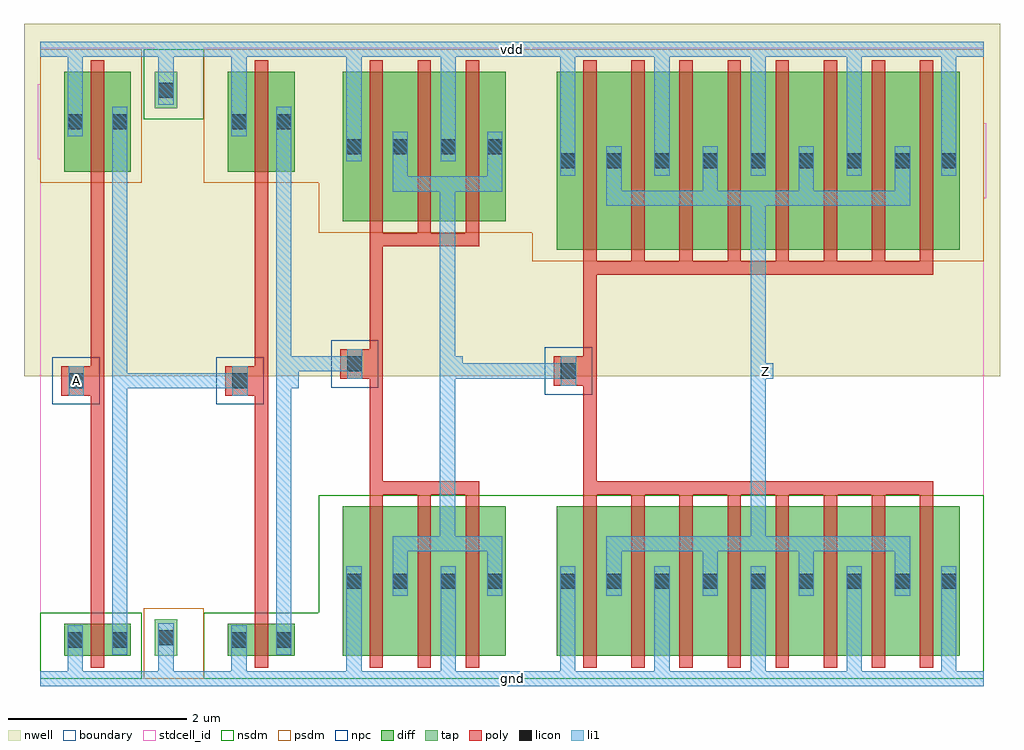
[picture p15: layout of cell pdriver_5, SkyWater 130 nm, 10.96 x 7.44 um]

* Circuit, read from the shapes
.subckt pdriver_5 A Z gnd vdd
XM1 pinv_7_1/A A gnd gnd sky130_fd_pr__nfet_01v8 w=0.36 l=0.15
XM2 pinv_11_2/A pinv_7_1/A gnd gnd sky130_fd_pr__nfet_01v8 w=0.36 l=0.15
XM3 pinv_12_3/A pinv_11_2/A gnd gnd sky130_fd_pr__nfet_01v8 w=1.68 l=0.15 m=3
XM4 Z pinv_12_3/A gnd gnd sky130_fd_pr__nfet_01v8 w=1.68 l=0.15 m=8
XM5 pinv_7_1/A A vdd vdd sky130_fd_pr__pfet_01v8 w=1.12 l=0.15
XM6 pinv_11_2/A pinv_7_1/A vdd vdd sky130_fd_pr__pfet_01v8 w=1.12 l=0.15
XM7 pinv_12_3/A pinv_11_2/A vdd vdd sky130_fd_pr__pfet_01v8 w=1.68 l=0.15 m=3
XM8 Z pinv_12_3/A vdd vdd sky130_fd_pr__pfet_01v8 w=2 l=0.15 m=8
.ends

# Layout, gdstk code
import gdstk
lib = gdstk.Library(unit=1e-6, precision=1e-09)
def R(c, l, rs):  # rectangles x0, y0, x1, y1
    for r in rs: c.add(gdstk.rectangle(r[:2], r[2:], *l))
def A(c, l, x, y, w, h, nx, ny, dx, dy):  # array of equal rectangles
    R(c, l, [(x+i*dx, y+j*dy, x+i*dx+w, y+j*dy+h) for i in range(nx) for j in range(ny)])
nwell = (64, 20)
diff = (65, 20)
tap = (65, 44)
poly = (66, 20)
licon = (66, 44)
li1 = (67, 20)
stdcell_id = (81, 4)
nsdm = (93, 44)
psdm = (94, 20)
npc = (95, 20)
boundary = (235, 4)

contact_11 = lib.new_cell('contact_11')
R(contact_11, nwell, [(-0.295,-0.255,0.545,0.585)])
R(contact_11, diff, [(0,0.02,0.25,0.31)])
R(contact_11, licon, [(0.04,0.08,0.21,0.25)])
R(contact_11, li1, [(0.04,0,0.21,0.33)])
R(contact_11, stdcell_id, [(-0.295,-0.255,0.545,0.585)])
R(contact_11, psdm, [(-0.125,-0.105,0.375,0.435)])
R(contact_11, boundary, [(-0.295,-0.255,0.545,0.585)])

pmos_m1_w1_120_sli_dli_d = lib.new_cell('pmos_m1_w1_120_sli_dli_da_p')
R(pmos_m1_w1_120_sli_dli_d, nwell, [(-0.27,-0.27,1.02,1.39)])
R(pmos_m1_w1_120_sli_dli_d, diff, [(0,0,0.75,1.12)])
R(pmos_m1_w1_120_sli_dli_d, poly, [(0.3,-0.13,0.45,1.25), (0.3,-0.13,0.45,1.25)])
R(pmos_m1_w1_120_sli_dli_d, li1, [(0.04,0.395,0.21,0.725), (0.54,0.395,0.71,0.725)])
R(pmos_m1_w1_120_sli_dli_d, stdcell_id, [(-0.27,-0.27,1.02,1.39)])
R(pmos_m1_w1_120_sli_dli_d, psdm, [(-0.125,-0.125,0.875,1.245)])
R(pmos_m1_w1_120_sli_dli_d, boundary, [(-0.27,-0.27,1.02,1.39)])
pmos_m1_w1_120_sli_dli_d.add(gdstk.Reference(contact_11, (0,0.395)))
pmos_m1_w1_120_sli_dli_d.add(gdstk.Reference(contact_11, (0.5,0.395)))
pmos_m1_w1_120_sli_dli_d.add(gdstk.Label('D', (0.625,0.56), layer=67, texttype=16))
pmos_m1_w1_120_sli_dli_d.add(gdstk.Label('S', (0.125,0.56), layer=67, texttype=16))
pmos_m1_w1_120_sli_dli_d.add(gdstk.Label('G', (0.375,0.56), layer=66, texttype=16))

contact_17 = lib.new_cell('contact_17')
R(contact_17, diff, [(0,0.02,0.25,0.31)])
R(contact_17, licon, [(0.04,0.08,0.21,0.25)])
R(contact_17, li1, [(0.04,0,0.21,0.33)])
R(contact_17, stdcell_id, [(-0.125,-0.105,0.375,0.435)])
R(contact_17, nsdm, [(-0.125,-0.105,0.375,0.435)])
R(contact_17, boundary, [(-0.125,-0.105,0.375,0.435)])

nmos_m1_w0_360_sli_dli_d = lib.new_cell('nmos_m1_w0_360_sli_dli_da_p')
R(nmos_m1_w0_360_sli_dli_d, diff, [(0,0,0.75,0.36)])
R(nmos_m1_w0_360_sli_dli_d, poly, [(0.3,-0.13,0.45,0.49), (0.3,-0.13,0.45,0.49)])
R(nmos_m1_w0_360_sli_dli_d, li1, [(0.04,0.015,0.21,0.345), (0.54,0.015,0.71,0.345)])
R(nmos_m1_w0_360_sli_dli_d, stdcell_id, [(-0.125,-0.13,0.875,0.49)])
R(nmos_m1_w0_360_sli_dli_d, nsdm, [(-0.125,-0.125,0.875,0.485)])
R(nmos_m1_w0_360_sli_dli_d, boundary, [(-0.125,-0.13,0.875,0.49)])
nmos_m1_w0_360_sli_dli_d.add(gdstk.Reference(contact_17, (0,0.015)))
nmos_m1_w0_360_sli_dli_d.add(gdstk.Reference(contact_17, (0.5,0.015)))
nmos_m1_w0_360_sli_dli_d.add(gdstk.Label('D', (0.625,0.18), layer=67, texttype=16))
nmos_m1_w0_360_sli_dli_d.add(gdstk.Label('S', (0.125,0.18), layer=67, texttype=16))
nmos_m1_w0_360_sli_dli_d.add(gdstk.Label('G', (0.375,0.18), layer=66, texttype=16))

contact_24 = lib.new_cell('contact_24')
R(contact_24, nwell, [(-0.295,-0.215,0.545,0.625)])
R(contact_24, tap, [(0,0,0.25,0.41)])
R(contact_24, licon, [(0.04,0.12,0.21,0.29)])
R(contact_24, li1, [(0.04,0.04,0.21,0.37)])
R(contact_24, stdcell_id, [(-0.295,-0.215,0.545,0.625)])
R(contact_24, nsdm, [(-0.125,-0.125,0.375,0.535)])
R(contact_24, boundary, [(-0.295,-0.215,0.545,0.625)])

contact_25 = lib.new_cell('contact_25')
R(contact_25, tap, [(0,0,0.25,0.41)])
R(contact_25, licon, [(0.04,0.12,0.21,0.29)])
R(contact_25, li1, [(0.04,0.04,0.21,0.37)])
R(contact_25, stdcell_id, [(-0.125,-0.125,0.375,0.535)])
R(contact_25, psdm, [(-0.125,-0.125,0.375,0.535)])
R(contact_25, boundary, [(-0.125,-0.125,0.375,0.535)])

contact_12 = lib.new_cell('contact_12')
R(contact_12, poly, [(0,0,0.33,0.33)])
R(contact_12, licon, [(0.08,0.08,0.25,0.25)])
R(contact_12, li1, [(0.08,0,0.25,0.33)])
R(contact_12, stdcell_id, [(-0.1,-0.1,0.43,0.43)])
R(contact_12, npc, [(-0.1,-0.1,0.43,0.43)])
R(contact_12, boundary, [(-0.1,-0.1,0.43,0.43)])

pinv_4 = lib.new_cell('pinv_4')
R(pinv_4, nwell, [(-0.18,3.395,2.02,7.355)])
R(pinv_4, poly, [(0.57,0.745,0.72,5.565), (0.405,3.18,0.57,3.51)])
R(pinv_4, li1, [(0,-0.085,1.84,0.085), (0.31,-0.085,0.48,0.27), (1.33,0,1.5,0.46), (0.81,0.27,0.98,6.42), (0.32,3.18,0.49,3.51), (0.895,3.26,1.065,3.43), (0.31,6.09,0.48,7.155), (1.33,6.61,1.5,7.07), (0,6.985,1.84,7.155)])
R(pinv_4, stdcell_id, [(0,0,1.84,7.07), (0,0,1.84,7.07)])
R(pinv_4, nsdm, [(0,0,1.145,0.74), (1.165,6.28,1.84,7.07)])
R(pinv_4, psdm, [(1.165,0,1.84,0.79), (0,5.57,1.145,7.07)])
R(pinv_4, boundary, [(0,0,1.84,7.07), (0,0,1.84,7.07)])
pinv_4.add(gdstk.Reference(pmos_m1_w1_120_sli_dli_d, (0.27,5.695)))
pinv_4.add(gdstk.Reference(nmos_m1_w0_360_sli_dli_d, (0.27,0.255)))
pinv_4.add(gdstk.Reference(contact_24, (1.29,6.405)))
pinv_4.add(gdstk.Reference(contact_25, (1.29,0.255)))
pinv_4.add(gdstk.Reference(contact_12, (0.24,3.18)))
pinv_4.add(gdstk.Label('vdd', (0.92,7.07), layer=67, texttype=16))
pinv_4.add(gdstk.Label('gnd', (0.92,0), layer=67, texttype=16))
pinv_4.add(gdstk.Label('Z', (0.98,3.345), layer=67, texttype=16))
pinv_4.add(gdstk.Label('A', (0.405,3.345), layer=67, texttype=16))

pinv_7 = lib.new_cell('pinv_7')
R(pinv_7, nwell, [(-0.18,3.395,1.47,7.355)])
R(pinv_7, poly, [(0.57,0.745,0.72,5.565), (0.405,3.18,0.57,3.51)])
R(pinv_7, li1, [(0,-0.085,1.29,0.085), (0.31,-0.085,0.48,0.27), (0.81,0.27,0.98,6.42), (0.32,3.18,0.49,3.51), (0.895,3.26,1.065,3.43), (0.31,6.09,0.48,7.155), (0,6.985,1.29,7.155)])
R(pinv_7, stdcell_id, [(0,0,1.29,7.07), (0,0,1.29,7.07)])
R(pinv_7, nsdm, [(0,0,1.29,0.74)])
R(pinv_7, psdm, [(0,5.57,1.29,7.07)])
R(pinv_7, boundary, [(0,0,1.29,7.07), (0,0,1.29,7.07)])
pinv_7.add(gdstk.Reference(pmos_m1_w1_120_sli_dli_d, (0.27,5.695)))
pinv_7.add(gdstk.Reference(nmos_m1_w0_360_sli_dli_d, (0.27,0.255)))
pinv_7.add(gdstk.Reference(contact_12, (0.24,3.18)))
pinv_7.add(gdstk.Label('vdd', (0.645,7.07), layer=67, texttype=16))
pinv_7.add(gdstk.Label('gnd', (0.645,0), layer=67, texttype=16))
pinv_7.add(gdstk.Label('Z', (0.98,3.345), layer=67, texttype=16))
pinv_7.add(gdstk.Label('A', (0.405,3.345), layer=67, texttype=16))

pmos_m3_w1_680_sli_dli_d = lib.new_cell('pmos_m3_w1_680_sli_dli_da_p')
R(pmos_m3_w1_680_sli_dli_d, nwell, [(-0.27,-0.27,2.1,1.95)])
R(pmos_m3_w1_680_sli_dli_d, diff, [(0,0,1.83,1.68)])
A(pmos_m3_w1_680_sli_dli_d, poly, 0.3, -0.13, 0.15, 1.94, 3, 1, 0.54, 0)
R(pmos_m3_w1_680_sli_dli_d, poly, [(0.3,-0.28,1.53,-0.13)])
R(pmos_m3_w1_680_sli_dli_d, li1, [(0.56,0.335,1.79,0.505), (0.56,0.42,0.73,0.84), (1.62,0.42,1.79,0.84), (0.04,0.675,0.21,1.005), (1.1,0.675,1.27,1.005)])
R(pmos_m3_w1_680_sli_dli_d, stdcell_id, [(-0.27,-0.27,2.1,1.95)])
R(pmos_m3_w1_680_sli_dli_d, psdm, [(-0.125,-0.125,1.955,1.805)])
R(pmos_m3_w1_680_sli_dli_d, boundary, [(-0.27,-0.27,2.1,1.95)])
pmos_m3_w1_680_sli_dli_d.add(gdstk.Reference(contact_11, (0,0.675)))
pmos_m3_w1_680_sli_dli_d.add(gdstk.Reference(contact_11, (0.52,0.675)))
pmos_m3_w1_680_sli_dli_d.add(gdstk.Reference(contact_11, (1.06,0.675)))
pmos_m3_w1_680_sli_dli_d.add(gdstk.Reference(contact_11, (1.58,0.675)))
pmos_m3_w1_680_sli_dli_d.add(gdstk.Label('D', (1.175,0.42), layer=67, texttype=16))
pmos_m3_w1_680_sli_dli_d.add(gdstk.Label('S', (1.185,0.84), layer=67, texttype=16))
pmos_m3_w1_680_sli_dli_d.add(gdstk.Label('S', (0.125,0.84), layer=67, texttype=16))
pmos_m3_w1_680_sli_dli_d.add(gdstk.Label('G', (0.915,-0.205), layer=66, texttype=16))

nmos_m3_w1_680_sli_dli_d = lib.new_cell('nmos_m3_w1_680_sli_dli_da_p')
R(nmos_m3_w1_680_sli_dli_d, diff, [(0,0,1.83,1.68)])
A(nmos_m3_w1_680_sli_dli_d, poly, 0.3, -0.13, 0.15, 1.94, 3, 1, 0.54, 0)
R(nmos_m3_w1_680_sli_dli_d, poly, [(0.3,1.81,1.53,1.96)])
R(nmos_m3_w1_680_sli_dli_d, li1, [(0.04,0.675,0.21,1.005), (1.1,0.675,1.27,1.005), (0.56,0.84,0.73,1.26), (1.62,0.84,1.79,1.26), (0.56,1.175,1.79,1.345)])
R(nmos_m3_w1_680_sli_dli_d, stdcell_id, [(-0.125,-0.13,1.955,1.81)])
R(nmos_m3_w1_680_sli_dli_d, nsdm, [(-0.125,-0.125,1.955,1.805)])
R(nmos_m3_w1_680_sli_dli_d, boundary, [(-0.125,-0.13,1.955,1.81)])
nmos_m3_w1_680_sli_dli_d.add(gdstk.Reference(contact_17, (0,0.675)))
nmos_m3_w1_680_sli_dli_d.add(gdstk.Reference(contact_17, (0.52,0.675)))
nmos_m3_w1_680_sli_dli_d.add(gdstk.Reference(contact_17, (1.06,0.675)))
nmos_m3_w1_680_sli_dli_d.add(gdstk.Reference(contact_17, (1.58,0.675)))
nmos_m3_w1_680_sli_dli_d.add(gdstk.Label('D', (1.175,1.26), layer=67, texttype=16))
nmos_m3_w1_680_sli_dli_d.add(gdstk.Label('S', (1.185,0.84), layer=67, texttype=16))
nmos_m3_w1_680_sli_dli_d.add(gdstk.Label('S', (0.125,0.84), layer=67, texttype=16))
nmos_m3_w1_680_sli_dli_d.add(gdstk.Label('G', (0.915,1.885), layer=66, texttype=16))

pinv_11 = lib.new_cell('pinv_11')
R(pinv_11, nwell, [(-0.18,3.395,2.58,7.355)])
R(pinv_11, poly, [(0.57,2.215,0.72,4.855), (0.405,3.37,0.57,3.7)])
R(pinv_11, li1, [(0,-0.085,2.4,0.085), (0.31,-0.085,0.48,0.93), (1.37,-0.085,1.54,0.93), (1.36,1.43,1.53,5.64), (0.32,3.37,0.49,3.7), (1.445,3.45,1.615,3.62), (0.31,5.81,0.48,7.155), (1.37,5.81,1.54,7.155), (0,6.985,2.4,7.155)])
R(pinv_11, stdcell_id, [(0,0,2.4,7.07), (0,0,2.4,7.07)])
R(pinv_11, nsdm, [(0,0,2.4,2.06)])
R(pinv_11, psdm, [(0,5.01,2.4,7.07)])
R(pinv_11, boundary, [(0,0,2.4,7.07), (0,0,2.4,7.07)])
pinv_11.add(gdstk.Reference(pmos_m3_w1_680_sli_dli_d, (0.27,5.135)))
pinv_11.add(gdstk.Reference(nmos_m3_w1_680_sli_dli_d, (0.27,0.255)))
pinv_11.add(gdstk.Reference(contact_12, (0.24,3.37)))
pinv_11.add(gdstk.Label('vdd', (1.2,7.07), layer=67, texttype=16))
pinv_11.add(gdstk.Label('gnd', (1.2,0), layer=67, texttype=16))
pinv_11.add(gdstk.Label('Z', (1.53,3.535), layer=67, texttype=16))
pinv_11.add(gdstk.Label('A', (0.405,3.535), layer=67, texttype=16))

pmos_m8_w2_000_sli_dli_d = lib.new_cell('pmos_m8_w2_000_sli_dli_da_p')
R(pmos_m8_w2_000_sli_dli_d, nwell, [(-0.27,-0.27,4.8,2.27)])
R(pmos_m8_w2_000_sli_dli_d, diff, [(0,0,4.53,2)])
A(pmos_m8_w2_000_sli_dli_d, poly, 0.3, -0.13, 0.15, 2.26, 8, 1, 0.54, 0)
R(pmos_m8_w2_000_sli_dli_d, poly, [(0.3,-0.28,4.23,-0.13)])
A(pmos_m8_w2_000_sli_dli_d, li1, 0.56, 0.58, 0.17, 0.42, 4, 1, 1.08, 0)
A(pmos_m8_w2_000_sli_dli_d, li1, 1.1, 0.835, 0.17, 0.33, 3, 1, 1.08, 0)
R(pmos_m8_w2_000_sli_dli_d, li1, [(0.56,0.495,3.97,0.665), (0.04,0.835,0.21,1.165), (4.32,0.835,4.49,1.165)])
R(pmos_m8_w2_000_sli_dli_d, stdcell_id, [(-0.27,-0.27,4.8,2.27)])
R(pmos_m8_w2_000_sli_dli_d, psdm, [(-0.125,-0.125,4.655,2.125)])
R(pmos_m8_w2_000_sli_dli_d, boundary, [(-0.27,-0.27,4.8,2.27)])
pmos_m8_w2_000_sli_dli_d.add(gdstk.Reference(contact_11, (0,0.835)))
pmos_m8_w2_000_sli_dli_d.add(gdstk.Reference(contact_11, (0.52,0.835)))
pmos_m8_w2_000_sli_dli_d.add(gdstk.Reference(contact_11, (1.06,0.835)))
pmos_m8_w2_000_sli_dli_d.add(gdstk.Reference(contact_11, (1.6,0.835)))
pmos_m8_w2_000_sli_dli_d.add(gdstk.Reference(contact_11, (2.14,0.835)))
pmos_m8_w2_000_sli_dli_d.add(gdstk.Reference(contact_11, (2.68,0.835)))
pmos_m8_w2_000_sli_dli_d.add(gdstk.Reference(contact_11, (3.22,0.835)))
pmos_m8_w2_000_sli_dli_d.add(gdstk.Reference(contact_11, (3.76,0.835)))
pmos_m8_w2_000_sli_dli_d.add(gdstk.Reference(contact_11, (4.28,0.835)))
pmos_m8_w2_000_sli_dli_d.add(gdstk.Label('D', (2.265,0.58), layer=67, texttype=16))
pmos_m8_w2_000_sli_dli_d.add(gdstk.Label('S', (3.345,1), layer=67, texttype=16))
pmos_m8_w2_000_sli_dli_d.add(gdstk.Label('S', (4.405,1), layer=67, texttype=16))
pmos_m8_w2_000_sli_dli_d.add(gdstk.Label('S', (1.185,1), layer=67, texttype=16))
pmos_m8_w2_000_sli_dli_d.add(gdstk.Label('S', (0.125,1), layer=67, texttype=16))
pmos_m8_w2_000_sli_dli_d.add(gdstk.Label('S', (2.265,1), layer=67, texttype=16))
pmos_m8_w2_000_sli_dli_d.add(gdstk.Label('G', (2.265,-0.205), layer=66, texttype=16))

nmos_m8_w1_680_sli_dli_d = lib.new_cell('nmos_m8_w1_680_sli_dli_da_p')
R(nmos_m8_w1_680_sli_dli_d, diff, [(0,0,4.53,1.68)])
A(nmos_m8_w1_680_sli_dli_d, poly, 0.3, -0.13, 0.15, 1.94, 8, 1, 0.54, 0)
R(nmos_m8_w1_680_sli_dli_d, poly, [(0.3,1.81,4.23,1.96)])
A(nmos_m8_w1_680_sli_dli_d, li1, 1.1, 0.675, 0.17, 0.33, 3, 1, 1.08, 0)
A(nmos_m8_w1_680_sli_dli_d, li1, 0.56, 0.84, 0.17, 0.42, 4, 1, 1.08, 0)
R(nmos_m8_w1_680_sli_dli_d, li1, [(0.04,0.675,0.21,1.005), (4.32,0.675,4.49,1.005), (0.56,1.175,3.97,1.345)])
R(nmos_m8_w1_680_sli_dli_d, stdcell_id, [(-0.125,-0.13,4.655,1.81)])
R(nmos_m8_w1_680_sli_dli_d, nsdm, [(-0.125,-0.125,4.655,1.805)])
R(nmos_m8_w1_680_sli_dli_d, boundary, [(-0.125,-0.13,4.655,1.81)])
nmos_m8_w1_680_sli_dli_d.add(gdstk.Reference(contact_17, (0,0.675)))
nmos_m8_w1_680_sli_dli_d.add(gdstk.Reference(contact_17, (0.52,0.675)))
nmos_m8_w1_680_sli_dli_d.add(gdstk.Reference(contact_17, (1.06,0.675)))
nmos_m8_w1_680_sli_dli_d.add(gdstk.Reference(contact_17, (1.6,0.675)))
nmos_m8_w1_680_sli_dli_d.add(gdstk.Reference(contact_17, (2.14,0.675)))
nmos_m8_w1_680_sli_dli_d.add(gdstk.Reference(contact_17, (2.68,0.675)))
nmos_m8_w1_680_sli_dli_d.add(gdstk.Reference(contact_17, (3.22,0.675)))
nmos_m8_w1_680_sli_dli_d.add(gdstk.Reference(contact_17, (3.76,0.675)))
nmos_m8_w1_680_sli_dli_d.add(gdstk.Reference(contact_17, (4.28,0.675)))
nmos_m8_w1_680_sli_dli_d.add(gdstk.Label('D', (2.265,1.26), layer=67, texttype=16))
nmos_m8_w1_680_sli_dli_d.add(gdstk.Label('S', (4.405,0.84), layer=67, texttype=16))
nmos_m8_w1_680_sli_dli_d.add(gdstk.Label('S', (1.185,0.84), layer=67, texttype=16))
nmos_m8_w1_680_sli_dli_d.add(gdstk.Label('S', (3.345,0.84), layer=67, texttype=16))
nmos_m8_w1_680_sli_dli_d.add(gdstk.Label('S', (0.125,0.84), layer=67, texttype=16))
nmos_m8_w1_680_sli_dli_d.add(gdstk.Label('S', (2.265,0.84), layer=67, texttype=16))
nmos_m8_w1_680_sli_dli_d.add(gdstk.Label('G', (2.265,1.885), layer=66, texttype=16))

pinv_12 = lib.new_cell('pinv_12')
R(pinv_12, nwell, [(-0.18,3.395,5.25,7.355)])
R(pinv_12, poly, [(0.57,2.215,0.72,4.535), (0.405,3.29,0.57,3.62)])
A(pinv_12, li1, 1.37, -0.085, 0.17, 1.015, 3, 1, 1.08, 0)
A(pinv_12, li1, 1.37, 5.65, 0.17, 1.505, 3, 1, 1.08, 0)
R(pinv_12, li1, [(0,-0.085,5.07,0.085), (0.31,-0.085,0.48,0.93), (4.59,-0.085,4.76,0.93), (2.45,1.43,2.62,5.48), (0.32,3.29,0.49,3.62), (2.535,3.37,2.705,3.54), (0.31,5.65,0.48,7.155), (4.59,5.65,4.76,7.155), (0,6.985,5.07,7.155)])
R(pinv_12, stdcell_id, [(0,0,5.07,7.07), (0,0,5.07,7.07)])
R(pinv_12, nsdm, [(0,0,5.07,2.06)])
R(pinv_12, psdm, [(0,4.69,5.07,7.07)])
R(pinv_12, boundary, [(0,0,5.07,7.07), (0,0,5.07,7.07)])
pinv_12.add(gdstk.Reference(pmos_m8_w2_000_sli_dli_d, (0.27,4.815)))
pinv_12.add(gdstk.Reference(nmos_m8_w1_680_sli_dli_d, (0.27,0.255)))
pinv_12.add(gdstk.Reference(contact_12, (0.24,3.29)))
pinv_12.add(gdstk.Label('vdd', (2.535,7.07), layer=67, texttype=16))
pinv_12.add(gdstk.Label('gnd', (2.535,0), layer=67, texttype=16))
pinv_12.add(gdstk.Label('Z', (2.62,3.455), layer=67, texttype=16))
pinv_12.add(gdstk.Label('A', (0.405,3.455), layer=67, texttype=16))

pdriver_5 = lib.new_cell('pdriver_5')
R(pdriver_5, nwell, [(-0.18,3.395,10.78,7.355)])
R(pdriver_5, li1, [(0,-0.085,10.6,0.085), (0.32,3.18,0.49,3.51), (0.98,3.26,2.245,3.43), (2.735,3.345,2.905,3.535), (4.575,3.37,4.745,3.54), (4.66,3.37,5.935,3.54), (8.065,3.37,8.235,3.54), (2.735,3.45,2.905,3.62), (2.82,3.45,3.535,3.62), (4.575,3.455,4.745,3.535), (0,6.985,10.6,7.155)])
R(pdriver_5, stdcell_id, [(0,0,10.6,7.07), (0,0,10.6,7.07)])
R(pdriver_5, boundary, [(0,0,10.6,7.07), (0,0,10.6,7.07)])
pdriver_5.add(gdstk.Reference(pinv_4, (0,0)))
pdriver_5.add(gdstk.Reference(pinv_7, (1.84,0)))
pdriver_5.add(gdstk.Reference(pinv_11, (3.13,0)))
pdriver_5.add(gdstk.Reference(pinv_12, (5.53,0)))
pdriver_5.add(gdstk.Label('vdd', (5.3,7.07), layer=67, texttype=16))
pdriver_5.add(gdstk.Label('gnd', (5.3,0), layer=67, texttype=16))
pdriver_5.add(gdstk.Label('Z', (8.15,3.455), layer=67, texttype=16))
pdriver_5.add(gdstk.Label('A', (0.405,3.345), layer=67, texttype=16))

lib.write_gds('pdriver_5.gds')
